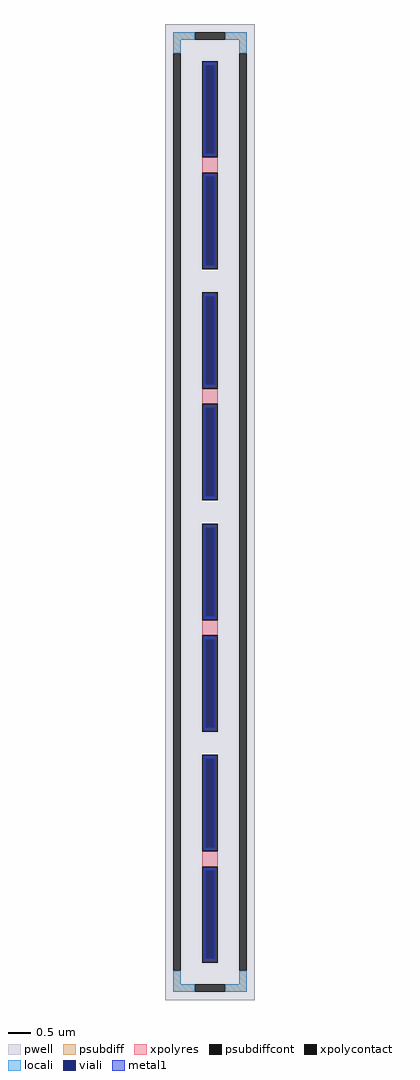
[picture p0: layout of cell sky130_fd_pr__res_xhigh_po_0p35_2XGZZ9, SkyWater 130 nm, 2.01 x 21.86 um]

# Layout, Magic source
magic
tech sky130A
magscale 1 2
<< pwell >>
rect -201 -2186 201 2186
<< psubdiff >>
rect -165 2116 -69 2150
rect 69 2116 165 2150
rect -165 2054 -131 2116
rect 131 2054 165 2116
rect -165 -2116 -131 -2054
rect 131 -2116 165 -2054
rect -165 -2150 -69 -2116
rect 69 -2150 165 -2116
<< psubdiffcont >>
rect -69 2116 69 2150
rect -165 -2054 -131 2054
rect 131 -2054 165 2054
rect -69 -2150 69 -2116
<< xpolycontact >>
rect -35 1588 35 2020
rect -35 1088 35 1520
rect -35 552 35 984
rect -35 52 35 484
rect -35 -484 35 -52
rect -35 -984 35 -552
rect -35 -1520 35 -1088
rect -35 -2020 35 -1588
<< xpolyres >>
rect -35 1520 35 1588
rect -35 484 35 552
rect -35 -552 35 -484
rect -35 -1588 35 -1520
<< locali >>
rect -165 2116 -69 2150
rect 69 2116 165 2150
rect -165 2054 -131 2116
rect 131 2054 165 2116
rect -165 -2116 -131 -2054
rect 131 -2116 165 -2054
rect -165 -2150 -69 -2116
rect 69 -2150 165 -2116
<< viali >>
rect -19 1605 19 2002
rect -19 1106 19 1503
rect -19 569 19 966
rect -19 70 19 467
rect -19 -467 19 -70
rect -19 -966 19 -569
rect -19 -1503 19 -1106
rect -19 -2002 19 -1605
<< metal1 >>
rect -25 2002 25 2014
rect -25 1605 -19 2002
rect 19 1605 25 2002
rect -25 1593 25 1605
rect -25 1503 25 1515
rect -25 1106 -19 1503
rect 19 1106 25 1503
rect -25 1094 25 1106
rect -25 966 25 978
rect -25 569 -19 966
rect 19 569 25 966
rect -25 557 25 569
rect -25 467 25 479
rect -25 70 -19 467
rect 19 70 25 467
rect -25 58 25 70
rect -25 -70 25 -58
rect -25 -467 -19 -70
rect 19 -467 25 -70
rect -25 -479 25 -467
rect -25 -569 25 -557
rect -25 -966 -19 -569
rect 19 -966 25 -569
rect -25 -978 25 -966
rect -25 -1106 25 -1094
rect -25 -1503 -19 -1106
rect 19 -1503 25 -1106
rect -25 -1515 25 -1503
rect -25 -1605 25 -1593
rect -25 -2002 -19 -1605
rect 19 -2002 25 -1605
rect -25 -2014 25 -2002
<< properties >>
string FIXED_BBOX -148 -2133 148 2133
string gencell sky130_fd_pr__res_xhigh_po_0p35
string library sky130
string parameters w 0.350 l 0.50 m 4 nx 1 wmin 0.350 lmin 0.50 rho 2000 val 3.932k dummy 0 dw 0.0 term 188.2 sterm 0.0 caplen 0 wmax 0.350 guard 1 glc 1 grc 1 gtc 1 gbc 1 compatible {sky130_fd_pr__res_xhigh_po_0p35  sky130_fd_pr__res_xhigh_po_0p69 sky130_fd_pr__res_xhigh_po_1p41  sky130_fd_pr__res_xhigh_po_2p85 sky130_fd_pr__res_xhigh_po_5p73} snake 0 full_metal 1 n_guard 0 hv_guard 0 vias 1 viagb 0 viagt 0 viagl 0 viagr 0
<< end >>
